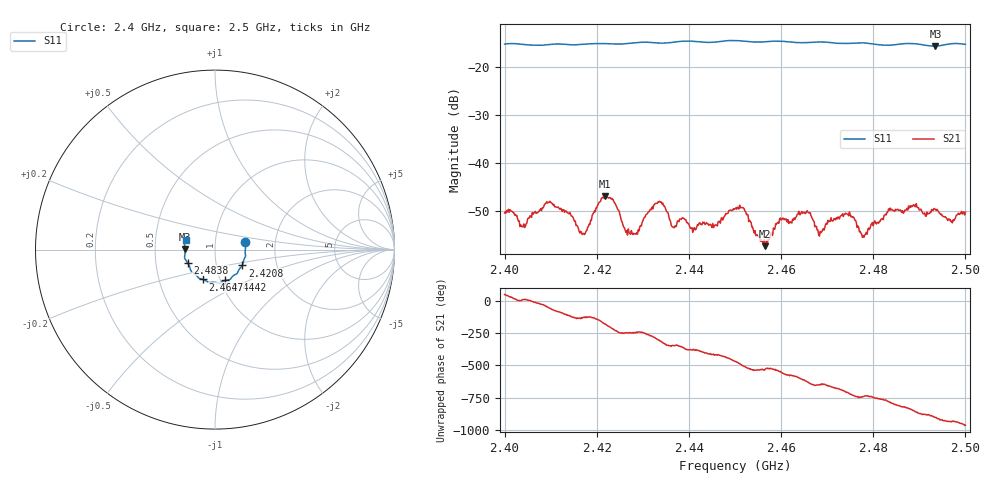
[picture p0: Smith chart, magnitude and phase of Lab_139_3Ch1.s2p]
# Hz S RI R 50
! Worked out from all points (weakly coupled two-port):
!   601 points, 2.4 GHz to 2.5 GHz, reference 50 ohm
!   highest |S21| = -46.85 dB at 2.4218 GHz (marker M1); lowest = -57.3 dB at 2.4565 GHz (marker M2)
!   lowest |S11| = -15.6 dB at 2.4935 GHz (marker M3), VSWR 1.40, Z = 35.8 + j0.174 ohm
!   |S11| at or under -10 dB: start of sweep to end of sweep
!   S12 and S22 are empty: the file has one direction only
!   S11 on the Smith chart (normalised r, x): 2.4 GHz: 1.40, +0.12; 2.4208 GHz: 1.33, -0.24; 2.4442 GHz: 1.05, -0.37; 2.4647 GHz: 0.83, -0.29; 2.4838 GHz: 0.73, -0.11; 2.5 GHz: 0.71, +0.08
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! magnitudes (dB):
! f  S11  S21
! 2.4 GHz  -15.2  -50.4
! 2.4042 GHz  -15.3  -52.7
! 2.4097 GHz  -15.3  -48.1
! 2.4167 GHz  -15.3  -54.4
! 2.4208 GHz  -15.1  -47.9
! 2.4218 GHz  -15.1  -46.9
! 2.4283 GHz  -14.9  -54.8
! 2.4333 GHz  -15.0  -48.0
! 2.4367 GHz  -14.8  -53.4
! 2.4442 GHz  -14.9  -52.7
! 2.45 GHz  -14.5  -49.5
! 2.4565 GHz  -14.8  -57.3
! 2.4593 GHz  -14.6  -52.3
! 2.4647 GHz  -14.9  -50.5
! 2.4667 GHz  -14.8  -51.3
! 2.4685 GHz  -14.8  -54.2
! 2.4745 GHz  -15.1  -50.6
! 2.4778 GHz  -15.0  -55.1
! 2.4833 GHz  -15.5  -49.5
! 2.4838 GHz  -15.4  -49.8
! 2.4935 GHz  -15.6  -49.6
! 2.5 GHz  -15.3  -50.2
